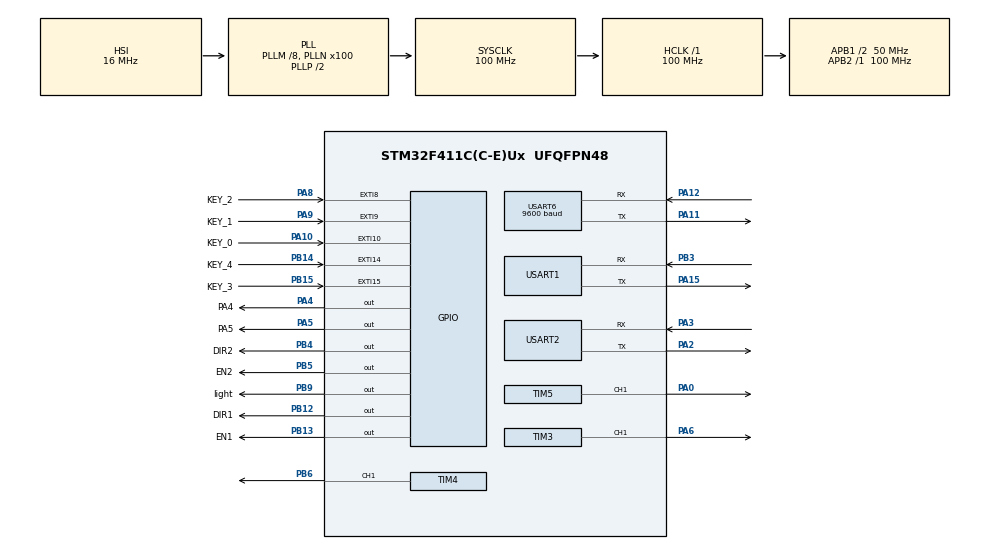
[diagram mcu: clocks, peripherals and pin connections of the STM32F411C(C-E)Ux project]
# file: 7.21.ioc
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Dma.Request0=USART2_RX
Dma.USART2_RX.0.Direction=DMA_PERIPH_TO_MEMORY
Dma.USART2_RX.0.FIFOMode=DMA_FIFOMODE_DISABLE
Dma.USART2_RX.0.Instance=DMA1_Stream5
Dma.USART2_RX.0.MemDataAlignment=DMA_MDATAALIGN_BYTE
Dma.USART2_RX.0.MemInc=DMA_MINC_ENABLE
Dma.USART2_RX.0.Mode=DMA_NORMAL
Dma.USART2_RX.0.PeriphDataAlignment=DMA_PDATAALIGN_BYTE
Dma.USART2_RX.0.PeriphInc=DMA_PINC_DISABLE
Dma.USART2_RX.0.Priority=DMA_PRIORITY_LOW
Mcu.Family=STM32F4
Mcu.Name=STM32F411C(C-E)Ux
Mcu.Package=UFQFPN48
NVIC.DMA1_Stream5_IRQn=true\:0\:0\:false\:false\:true\:false\:true\:true
NVIC.PriorityGroup=NVIC_PRIORITYGROUP_4
NVIC.TIM2_IRQn=true\:0\:0\:false\:false\:true\:true\:true\:true
NVIC.USART1_IRQn=true\:0\:0\:false\:false\:true\:true\:true\:true
NVIC.USART2_IRQn=true\:0\:0\:false\:false\:true\:true\:true\:true
NVIC.USART6_IRQn=true\:0\:0\:false\:false\:true\:true\:true\:true
PA0-WKUP.Signal=S_TIM5_CH1
PA10.GPIO_Label=KEY_0
PA10.GPIO_PuPd=GPIO_PULLDOWN
PA10.Signal=GPXTI10
PA11.Mode=Asynchronous
PA11.Signal=USART6_TX
PA12.Mode=Asynchronous
PA12.Signal=USART6_RX
PA13.Mode=Serial_Wire
PA13.Signal=SYS_JTMS-SWDIO
PA14.Mode=Serial_Wire
PA14.Signal=SYS_JTCK-SWCLK
PA15.Mode=Asynchronous
PA15.Signal=USART1_TX
PA2.Mode=Asynchronous
PA2.Signal=USART2_TX
PA3.Mode=Asynchronous
PA3.Signal=USART2_RX
PA4.GPIO_Label=PA4
PA4.Signal=GPIO_Output
PA5.GPIO_Label=PA5
PA5.Signal=GPIO_Output
PA6.Signal=S_TIM3_CH1
PA8.GPIO_Label=KEY_2
PA8.GPIO_PuPd=GPIO_PULLDOWN
PA8.Signal=GPXTI8
PA9.GPIO_Label=KEY_1
PA9.GPIO_PuPd=GPIO_PULLDOWN
PA9.Signal=GPXTI9
PB12.GPIO_Label=DIR1
PB12.GPIO_PuPd=GPIO_PULLUP
PB12.Signal=GPIO_Output
PB13.GPIO_Label=EN1
PB13.GPIO_PuPd=GPIO_PULLUP
PB13.Signal=GPIO_Output
PB14.GPIO_Label=KEY_4
PB14.GPIO_PuPd=GPIO_PULLDOWN
PB14.Signal=GPXTI14
PB15.GPIO_Label=KEY_3
PB15.GPIO_PuPd=GPIO_PULLDOWN
PB15.Signal=GPXTI15
PB3.Mode=Asynchronous
PB3.Signal=USART1_RX
PB4.GPIO_Label=DIR2
PB4.GPIO_PuPd=GPIO_PULLUP
PB4.Signal=GPIO_Output
PB5.GPIO_Label=EN2
PB5.GPIO_PuPd=GPIO_PULLUP
PB5.Signal=GPIO_Output
PB6.Signal=S_TIM4_CH1
PB9.GPIO_Label=light
PB9.GPIO_PuPd=GPIO_PULLDOWN
PB9.GPIO_Speed=GPIO_SPEED_FREQ_LOW
PB9.PinState=GPIO_PIN_RESET
PB9.Signal=GPIO_Output
PH0\ -\ OSC_IN.Mode=HSE-External-Oscillator
PH0\ -\ OSC_IN.Signal=RCC_OSC_IN
PH1\ -\ OSC_OUT.Mode=HSE-External-Oscillator
PH1\ -\ OSC_OUT.Signal=RCC_OSC_OUT
ProjectManager.HeapSize=0x200
ProjectManager.StackSize=0x400
ProjectManager.TargetToolchain=MDK-ARM V5.32
RCC.48MHZClocksFreq_Value=50000000
RCC.AHBFreq_Value=100000000
RCC.APB1CLKDivider=RCC_HCLK_DIV2
RCC.APB1Freq_Value=50000000
RCC.APB1TimFreq_Value=100000000
RCC.APB2Freq_Value=100000000
RCC.APB2TimFreq_Value=100000000
RCC.CortexFreq_Value=100000000
RCC.HCLKFreq_Value=100000000
RCC.HSE_VALUE=25000000
RCC.HSI_VALUE=16000000
RCC.LSE_VALUE=32768
RCC.PLLM=8
RCC.PLLN=100
RCC.SYSCLKFreq_VALUE=100000000
RCC.SYSCLKSource=RCC_SYSCLKSOURCE_PLLCLK
RCC.VCOOutputFreq_Value=200000000
SH.S_TIM3_CH1.0=TIM3_CH1,PWM Generation1 CH1
SH.S_TIM4_CH1.0=TIM4_CH1,PWM Generation1 CH1
SH.S_TIM5_CH1.0=TIM5_CH1,PWM Generation1 CH1
TIM2.Period=9999
TIM2.Prescaler=9
TIM3.Channel-PWM\ Generation1\ CH1=TIM_CHANNEL_1
TIM3.Period=20000-1
TIM3.Prescaler=99
TIM4.Channel-PWM\ Generation1\ CH1=TIM_CHANNEL_1
TIM4.Period=20000-1
TIM4.Prescaler=99
TIM5.Channel-PWM\ Generation1\ CH1=TIM_CHANNEL_1
TIM5.Period=20000-1
TIM5.Prescaler=99
USART1.VirtualMode=VM_ASYNC
USART2.VirtualMode=VM_ASYNC
USART6.BaudRate=9600
USART6.VirtualMode=VM_ASYNC
VP_TIM2_VS_ClockSourceINT.Mode=Internal
VP_TIM3_VS_ClockSourceINT.Mode=Internal
VP_TIM4_VS_ClockSourceINT.Mode=Internal
VP_TIM5_VS_ClockSourceINT.Mode=Internal
board=custom

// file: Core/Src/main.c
/* USER CODE BEGIN Header */
/**
  ******************************************************************************
  * @file           : main.c
  * @brief          : Main program body
  ******************************************************************************
  * @attention
  *
  * Copyright (c) 2025 STMicroelectronics.
  * All rights reserved.
  *
  * This software is licensed under terms that can be found in the LICENSE file
  * in the root directory of this software component.
  * If no LICENSE file comes with this software, it is provided AS-IS.
  *
  ******************************************************************************
  */
/* USER CODE END Header */
#include "main.h"
#include "dma.h"
#include "tim.h"
#include "usart.h"
#include "gpio.h"

/* USER CODE BEGIN Includes */
#include "Stepper_Motor.h"
#include "Delay.h"
#include "yuntai.h"
#include "oled.h"
#include "Bujin.h"
#include "usart_1.h"
#include "serial_it_config.h"
#include "math.h"
/* USER CODE END Includes */

/* USER CODE BEGIN PTD */
char RxBuffer[200],Rxcouter;
uint8_t Res;
char RxBuffer2[200],Rxcouter_2;
uint8_t Res_2;
int problem_flag;
int turn_flag;

void HAL_UART_RxCpltCallback(UART_HandleTypeDef *huart)
{
    if(huart->Instance == USART1)
    {
			RxBuffer[Rxcouter++] = Res;
			HAL_UART_Receive_IT(&huart1, (uint8_t *)&Res, 1);
			if(Res=='1')
			{
				problem_flag=1;
			}
			else if(Res=='2')
			{
				problem_flag=2;
			}
			else if(Res=='3')
			{
				problem_flag=3;
			}
			else if(Res=='4')
			{
				problem_flag=4;
			}
			else if(Res=='5')
			{
				problem_flag=5;
			}
			else if(Res=='6')
			{
				problem_flag=6;
			}
		}
		else if(huart->Instance == USART2)
		{
			RxBuffer2[Rxcouter_2++] = Res_2;
			HAL_UART_Receive_IT(&huart2, (uint8_t *)&Res_2, 1);
			if(Res_2=='1')
			{
				turn_flag=1;
			}
		}
    else if(huart->Instance == USART6)
    {
        UART3_RxCpltCallback(huart);
    }
}

/* USER CODE END PTD */

/* USER CODE BEGIN PV */
extern int current_x;
extern int current_y;
int target_X,target_Y;
int stop_flag;
/* USER CODE END PV */

void SystemClock_Config(void);

int main(void)
{

  /* USER CODE BEGIN 1 */
	extern int Flag;
	int send_flag=0;
	extern float Yaw;
	int reset_flag=0;
	extern int index_ms;

  /* USER CODE END 1 */

  /* MCU Configuration--------------------------------------------------------*/

  /* Reset of all peripherals, Initializes the Flash interface and the Systick. */
  HAL_Init();

  /* Configure the system clock */
  SystemClock_Config();

  /* Initialize all configured peripherals */
  MX_GPIO_Init();
  MX_DMA_Init();
  MX_TIM3_Init();
  MX_USART1_UART_Init();
  MX_USART2_UART_Init();
  MX_USART6_UART_Init();
  MX_TIM2_Init();
  MX_TIM4_Init();
  MX_TIM5_Init();
  /* USER CODE BEGIN 2 */
	IMU_Init();
	HAL_UART_Receive_IT(&huart1, (uint8_t *)&Res, 1);
	HAL_UART_Receive_IT(&huart2, (uint8_t *)&Res_2, 1);

//	HAL_TIM_Base_Start_IT(&htim2);
	OLED_Init();
	USART_IT_Config();
	Stepper_Motor_Init();
	Stepper_Control_Init();
	HAL_GPIO_WritePin(GPIOB,light_Pin,1);
	UART1_SendChar('a');

	delay_ms(1000);
//	test();

//	Speed_bujin();
//	uint8_t usart_sent2[11];
//	StepperMotor motor3 = {
//			.address = 0x02,
//			.huart = &huart6, // 替换为你的 UART 句柄
//			.mode = ABS_ANGLE_CTRL,
//			.subdivision = 0x20, // 32 细分
//			.speed_rads_x10 = 0x000A, // 10 rad/s (0x0064 = 100)
//	};
//	BuildPositionControlFrame(&motor3, 400, CW, usart_sent2);
//	USART_SendArray(usart_sent2,sizeof(usart_sent2));
//	sanjiao();

//	delay_ms(2000);
//	BuildPositionControlFrame(&motor2, 900, CW, usart_sent2); // 100.0° 逆时针
//	USART_SendArray(usart_sent2,sizeof(usart_sent2));
//	BuildPositionControlFrame(&motor1, 900, CW, usart_sent1); // 100.0° 逆时针
//	delay_ms(10);
//	USART_SendArray(usart_sent1,sizeof(usart_sent1));

  /* USER CODE END 2 */

  /* Infinite loop */
  while (1)
  {

    /* USER CODE BEGIN 3 */
//		OLED_Update();
//		IMU_Proc();

//		Stepper_Control(320,240);
//		DrawRectangle(460, 150, 220, 300, 200);
//		DrawPrecisionRectangle(200, 150, 400, 350);
//		DrawCircle(320, 240, 100, 500);
//		OLED_Printf(0,0,OLED_8X16,"ok");
//		OLED_Printf(0,16,OLED_8X16,"turn_flag:%d",turn_flag);

		if(problem_flag==1)
		{
			if(send_flag==0)
			{
				UART1_SendChar('1');
				send_flag++;
			}
			if(reset_flag==0)
			{
				Motor_Move_B(1,30);
				delay_ms(200);
				reset_flag++;
			}
//			delay_ms(10);
			Stepper_Control_UntilReached();
			if(stop_flag==1)
			{
				stop_flag=0;
				HAL_TIM_Base_Start_IT(&htim2);
			}
			if(index_ms>=1000)
			{
				HAL_GPIO_WritePin(GPIOB,light_Pin,0);
			}
			if(index_ms>=1500)
			{
				HAL_TIM_PWM_Stop(&htim3, TIM_CHANNEL_1);
				HAL_TIM_PWM_Stop(&htim4, TIM_CHANNEL_1);

				problem_flag=0;
			}
		}
		if(problem_flag==2) //逆时针
		{
			if(send_flag==0)
			{
				UART1_SendChar('1');
				send_flag++;
			}
			if(reset_flag==0)
			{

				while(target_X==0)
				{
					Motor_Move_A(1,80);
					Motor_Move_B(1,5);

				}
				HAL_GPIO_WritePin(GPIOA, EN1_Pin, GPIO_PIN_RESET); // 停止电机
				reset_flag++;
			}
			Stepper_Control_UntilReached(target_X,target_Y);

			if(stop_flag==1)
			{
				stop_flag=0;
				HAL_TIM_Base_Start_IT(&htim2);
			}
			if(index_ms>=1000)
			{
				HAL_GPIO_WritePin(GPIOB,light_Pin,0);
			}
			if(index_ms>=2000)
			{
				HAL_TIM_PWM_Stop(&htim3, TIM_CHANNEL_1);
				HAL_TIM_PWM_Stop(&htim4, TIM_CHANNEL_1);

				problem_flag=0;
			}
		}
		if(problem_flag==3)//顺时针
		{
			if(send_flag==0)
			{
				UART1_SendChar('1');
				send_flag++;
			}
			if(reset_flag==0)
			{

				while(target_X==0)
				{
					Motor_Move_A(0,80);
					Motor_Move_B(1,5);

				}
				HAL_GPIO_WritePin(GPIOA, EN1_Pin, GPIO_PIN_RESET); // 停止电机
				reset_flag++;

			}

			Stepper_Control_UntilReached(target_X,target_Y);
			if(stop_flag==1)
			{
				stop_flag=0;
				HAL_TIM_Base_Start_IT(&htim2);
			}
			if(index_ms>=1000)
			{
				HAL_GPIO_WritePin(GPIOB,light_Pin,0);
			}
			if(index_ms>=2000)
			{
				HAL_TIM_PWM_Stop(&htim3, TIM_CHANNEL_1);
				HAL_TIM_PWM_Stop(&htim4, TIM_CHANNEL_1);

				problem_flag=0;
			}
		}
		if(problem_flag==4)
		{
			if(send_flag==0)
			{
				UART1_SendChar('1');
				send_flag++;
			}
			Stepper_Control_UntilReached_fast(target_X,target_Y);
			if(stop_flag==1)
			{
				HAL_GPIO_WritePin(GPIOB,light_Pin,0);
			}
			if(turn_flag==1)
			{
				Motor_Move_A(0,80);
				delay_ms(500);
				turn_flag=0;
			}
		}
		while(problem_flag==5)
		{
			if(send_flag==0)
			{
				UART1_SendChar('1');
				send_flag++;
			}
//			Stepper_Control_UntilReached(target_X,target_Y);
			Stepper_Control(target_X,target_Y);
			if(stop_flag==1)
			{
				HAL_GPIO_WritePin(GPIOB,light_Pin,0);
			}
		}
		if(problem_flag==6)
		{
			if(send_flag==0)
			{
				UART1_SendChar('2');
				send_flag++;
			}
//			Stepper_Control_UntilReached(target_X,target_Y);
			Stepper_Control(target_X,target_Y);
			if(stop_flag==1)
			{
				HAL_GPIO_WritePin(GPIOB,light_Pin,0);
			}
		}

//		Stepper_Control_UntilReached(200,100);
//		Stepper_Control_UntilReached(400,100);
//		Stepper_Control_UntilReached(400,200);
//		Stepper_Control_UntilReached(200,200);
//

//		    Motor_Move_B(0,1);	 //B是竖直
//				Motor_Move_A(0,15);  //A是水平
//
//				Motor_Move_A(0,2);
//				Motor_Move_B(1,15);

//				Motor_Move_A(0,20);
//				Motor_Move_B(0,2);
//
//				Motor_Move_B(0,2);
//				Motor_Move_A(0,5);
//
//				Motor_Move_B(0,5);
//				Motor_Move_A(0,2);

  }
  /* USER CODE END 3 */
}

void SystemClock_Config(void)
{
  RCC_OscInitTypeDef RCC_OscInitStruct = {0};
  RCC_ClkInitTypeDef RCC_ClkInitStruct = {0};

  /** Configure the main internal regulator output voltage
  */
  __HAL_RCC_PWR_CLK_ENABLE();
  __HAL_PWR_VOLTAGESCALING_CONFIG(PWR_REGULATOR_VOLTAGE_SCALE1);

  /** Initializes the RCC Oscillators according to the specified parameters
  * in the RCC_OscInitTypeDef structure.
  */
  RCC_OscInitStruct.OscillatorType = RCC_OSCILLATORTYPE_HSI;
  RCC_OscInitStruct.HSIState = RCC_HSI_ON;
  RCC_OscInitStruct.HSICalibrationValue = RCC_HSICALIBRATION_DEFAULT;
  RCC_OscInitStruct.PLL.PLLState = RCC_PLL_ON;
  RCC_OscInitStruct.PLL.PLLSource = RCC_PLLSOURCE_HSI;
  RCC_OscInitStruct.PLL.PLLM = 8;
  RCC_OscInitStruct.PLL.PLLN = 100;
  RCC_OscInitStruct.PLL.PLLP = RCC_PLLP_DIV2;
  RCC_OscInitStruct.PLL.PLLQ = 4;
  if (HAL_RCC_OscConfig(&RCC_OscInitStruct) != HAL_OK)
  {
    Error_Handler();
  }

  /** Initializes the CPU, AHB and APB buses clocks
  */
  RCC_ClkInitStruct.ClockType = RCC_CLOCKTYPE_HCLK|RCC_CLOCKTYPE_SYSCLK
                              |RCC_CLOCKTYPE_PCLK1|RCC_CLOCKTYPE_PCLK2;
  RCC_ClkInitStruct.SYSCLKSource = RCC_SYSCLKSOURCE_PLLCLK;
  RCC_ClkInitStruct.AHBCLKDivider = RCC_SYSCLK_DIV1;
  RCC_ClkInitStruct.APB1CLKDivider = RCC_HCLK_DIV2;
  RCC_ClkInitStruct.APB2CLKDivider = RCC_HCLK_DIV1;

  if (HAL_RCC_ClockConfig(&RCC_ClkInitStruct, FLASH_LATENCY_3) != HAL_OK)
  {
    Error_Handler();
  }
}

/* USER CODE BEGIN 4 */
//void HAL_TIM_PeriodElapsedCallback(TIM_HandleTypeDef *htim)
//{
//    if (htim == &htim2)  // X�ᶨʱ��
//    {
//        stepX();
//    }
//    else if (htim == &htim4)  // Y�ᶨʱ��
//    {
//        stepY();
//    }
//}
/* USER CODE END 4 */

void Error_Handler(void)
{
  __disable_irq();
  while (1)
  {
  }
}
